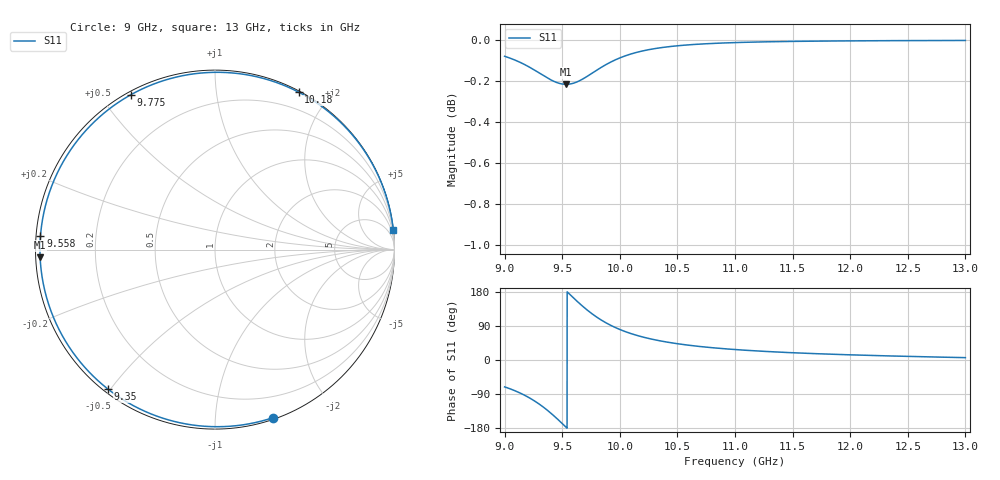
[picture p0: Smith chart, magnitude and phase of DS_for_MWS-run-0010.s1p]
! TOUCHSTONE file generated by CST DESIGN STUDIO
! Date and time: Tue Feb  4 14:14:42 2025
! Project name: C:\Work\MatlabApps\UnitCellOptimizationMatlab\CST\unitcell.cst
! Tree item: Tasks\Sweep1\SPara1\S-Parameters
! Header version: 2024
! Port assignment regex: !\s*Touchstone port\s*([0-9]+)\s*=\s*(CST MWS port|CST DES external port|CST DES block port)\s*(.+)\s* \(\"(.*)\"\)(\s*mode\s*([0-9]+))?.*
! Touchstone port assignment:
! Touchstone port 1 = CST DES external port 1 ("")
# GHz S MA R 50
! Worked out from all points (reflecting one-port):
!   4001 points, 9 GHz to 13 GHz, reference 50 ohm
!   lowest |S11| = -0.2 dB at 9.534 GHz (marker M1), VSWR 79.82, Z = 0.627 - j1.09 ohm
!   phase of S11 starts at -71 deg and turns -283 deg over the sweep
!   S11 on the Smith chart (normalised r, x): 9 GHz: 0.01, -1.40; 9.35 GHz: 0.01, -0.49; 9.558 GHz: 0.01, +0.04; 9.775 GHz: 0.01, +0.60; 10.18 GHz: 0.01, +1.66; 13 GHz: 0, +18
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9  0.9907 -70.9
9.099  0.9883 -82.3
9.207  0.985 -98.5
9.282  0.9822 -112.5
9.35  0.9795 -127.5
9.421  0.9771 -145.4
9.462  0.976 -156.7
9.5  0.9754 -167.6
9.534  0.9753 -177.5
9.558  0.9753 175.5
9.612  0.9762 159.8
9.673  0.978 143.1
9.724  0.9799 130.1
9.775  0.982 118.4
9.823  0.9839 108.5
9.875  0.9859 99.0
9.933  0.9879 89.7
10  0.9898 80.6
10.087  0.9918 70.7
10.182  0.9934 62.0
10.327  0.9952 51.9
10.5  0.9965 43.0
10.721  0.9976 34.8
11  0.9983 27.6
11.5  0.999 19.2
12  0.9993 13.6
12.5  0.9994 9.5
13  0.9995 6.2
